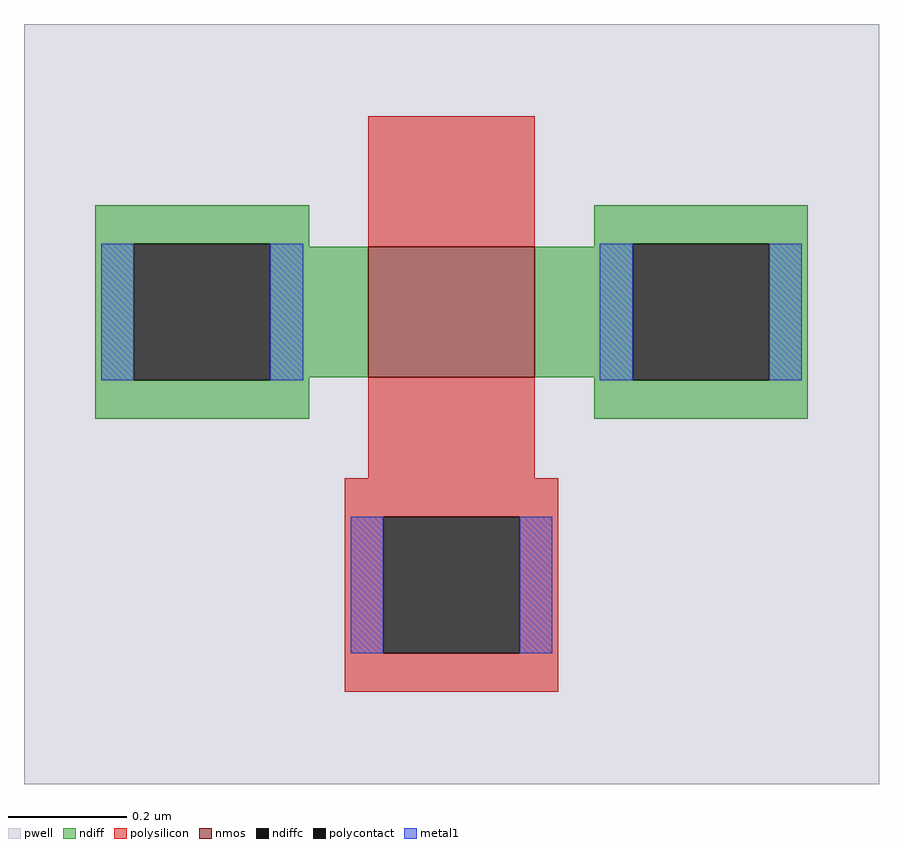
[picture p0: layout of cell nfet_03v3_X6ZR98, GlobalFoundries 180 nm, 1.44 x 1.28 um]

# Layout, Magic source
magic
tech gf180mcuD
magscale 1 10
<< pwell >>
rect -144 -128 144 128
<< nmos >>
rect -28 9 28 53
<< ndiff >>
rect -120 54 -48 67
rect -120 8 -107 54
rect -61 53 -48 54
rect 48 54 120 67
rect 48 53 61 54
rect -61 9 -28 53
rect 28 9 61 53
rect -61 8 -48 9
rect -120 -5 -48 8
rect 48 8 61 9
rect 107 8 120 54
rect 48 -5 120 8
<< ndiffc >>
rect -107 8 -61 54
rect 61 8 107 54
<< polysilicon >>
rect -28 53 28 97
rect -28 -25 28 9
rect -36 -38 36 -25
rect -36 -84 -23 -38
rect 23 -84 36 -38
rect -36 -97 36 -84
<< polycontact >>
rect -23 -84 23 -38
<< metal1 >>
rect -118 8 -107 54
rect -61 8 -50 54
rect 50 8 61 54
rect 107 8 118 54
rect -34 -84 -23 -38
rect 23 -84 34 -38
<< properties >>
string gencell nfet_03v3
string library gf180mcu
string parameters w 0.220 l 0.280 m 1 nf 1 diffcov 100 polycov 100 guard 0 glc 0 grc 0 gtc 0 gbc 0 tbcov 100 rlcov 100 topc 0 botc 1 poverlap 0 doverlap 1 lmin 0.28 wmin 0.22 class mosfet full_metal 0 compatible {nfet_03v3 nfet_05v0 nfet_06v0 nfet_06v0_nvt}
<< end >>
